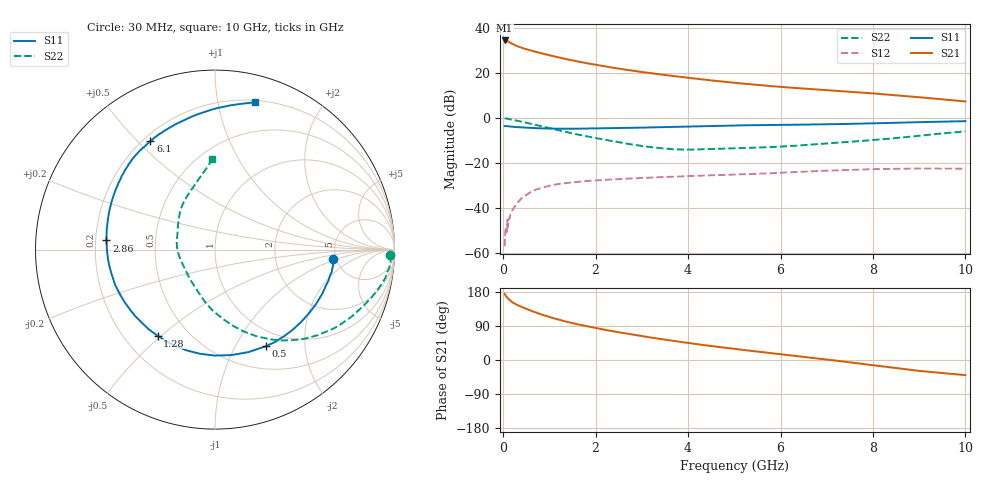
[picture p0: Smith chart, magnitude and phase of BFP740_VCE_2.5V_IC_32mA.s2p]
! Infineon Technologies  Discrete & RF Semiconductors
! BFP740
! VCE =  2.5 V,  IC =  32 mA
! Common Emitter S-Parameters:  Jan 2016
# GHz  S  MA  R  50
!  f  S11  S21  S12  S22
! GHz  MAG  ANG  MAG  ANG  MAG  ANG  MAG  ANG
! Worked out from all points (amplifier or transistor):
!   229 points, 30 MHz to 10 GHz, reference 50 ohm
!   highest |S21| = 34.5 dB at 30 MHz (marker M1)
!   |S21| within 3 dB of that: start of sweep to 362.2 MHz
!   unconditionally stable (mu >= 1): 5.686 GHz to 9.995 GHz
!   at 280 MHz: K = 0.31, MSG = 35.3 dB, |S12| = -38.4 dB
!   at 1.78 GHz: K = 0.52, MSG = 26.3 dB, |S12| = -28.1 dB
!   at 10 GHz: K = 1.00, MSG = 15.0 dB, |S12| = -22.6 dB
!   S11 on the Smith chart (normalised r, x): 30 MHz: 4.67, -0.91; 500 MHz: 0.79, -1.34; 1.28 GHz: 0.34, -0.49; 2.86 GHz: 0.25, +0.04; 6.1 GHz: 0.23, +0.55; 10 GHz: 0.22, +1.28
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0.03  0.6583 -4.8  53.29 174.3  0.0014 83.3  0.9768 -1.9
0.06  0.6618 -9.5  53.04 168.8  0.0037 88.1  0.9773 -5.3
0.09  0.6556 -13.8  51.27 164.0  0.0054 76.5  0.9638 -8.3
0.13  0.6488 -19.5  48.53 158.8  0.0058 81.4  0.9474 -11.8
0.185  0.6405 -26.6  45.32 153.5  0.0083 77.2  0.9193 -15.9
0.26  0.6307 -35.6  41.63 147.9  0.0111 71.9  0.8849 -20.7
0.32  0.624 -42.6  39.19 144.3  0.0134 70.8  0.8588 -24.4
0.5  0.6085 -62.0  34.02 134.9  0.0194 63.7  0.7856 -34.6
0.7  0.5946 -81.3  29.85 125.6  0.0252 55.9  0.7054 -44.7
0.88  0.5864 -96.5  26.79 118.1  0.0288 49.5  0.6358 -52.7
1.1  0.5802 -112.5  23.58 109.8  0.0326 44.1  0.5597 -61.4
1.28  0.5765 -123.7  21.36 103.9  0.035 40.3  0.5077 -67.5
1.7  0.58 -145.0  17.42 91.9  0.0385 33.8  0.4103 -80.1
2.2  0.5911 -164.6  14.08 79.6  0.0419 28.8  0.3284 -94.3
2.86  0.6067 175.2  11.09 65.8  0.0455 24.2  0.2499 -112.9
3.4  0.6239 161.7  9.349 55.5  0.0482 21.2  0.2134 -131.7
4.3  0.6574 143.2  7.249 40.0  0.052 16.8  0.2005 -164.9
5.1  0.6841 131.4  5.946 27.9  0.0553 13.8  0.2139 173.6
6.1  0.7042 120.7  4.845 14.1  0.0612 10.5  0.2336 153.1
6.8  0.7203 112.7  4.298 4.1  0.0657 6.5  0.2605 140.8
8.4  0.7796 91.5  3.272 -19.9  0.0739 -5.3  0.3495 113.8
10  0.8499 74.9  2.336 -40.0  0.0744 -15.5  0.5029 91.9
